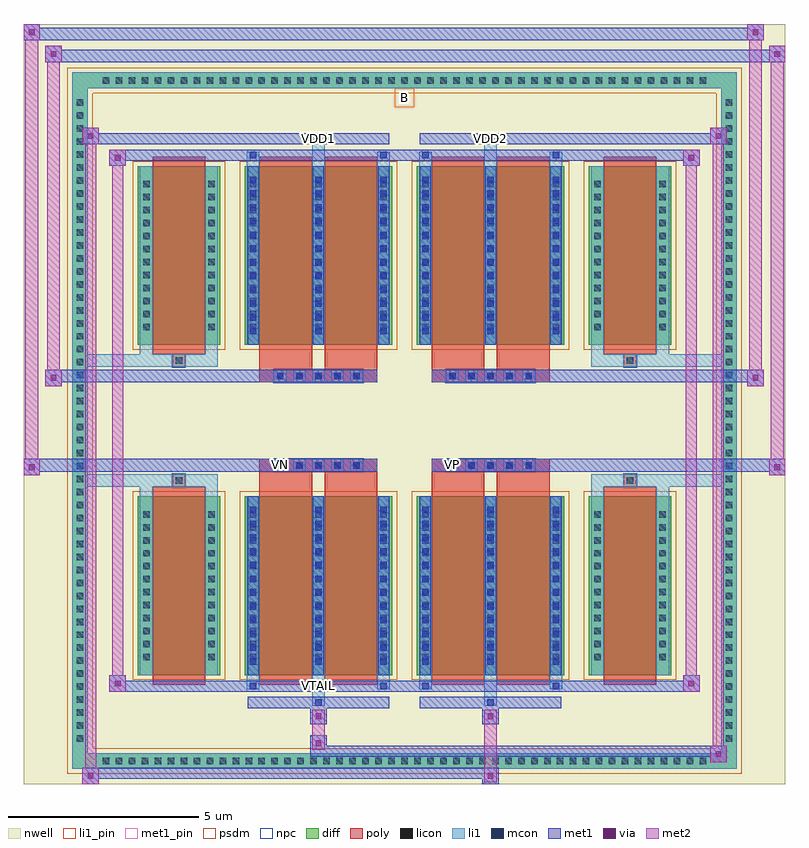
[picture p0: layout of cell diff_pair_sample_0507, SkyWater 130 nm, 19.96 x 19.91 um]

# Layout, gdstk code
import gdstk
lib = gdstk.Library(unit=1e-6, precision=5e-09)
def R(c, l, rs):  # rectangles x0, y0, x1, y1
    for r in rs: c.add(gdstk.rectangle(r[:2], r[2:], *l))
def A(c, l, x, y, w, h, nx, ny, dx, dy):  # array of equal rectangles
    R(c, l, [(x+i*dx, y+j*dy, x+i*dx+w, y+j*dy+h) for i in range(nx) for j in range(ny)])
def P(c, l, *ps):  # polygons
    for p in ps: c.add(gdstk.Polygon(p, *l))
nwell = (64, 20)
diff = (65, 20)
poly = (66, 20)
licon = (66, 44)
li1_pin = (67, 16)
li1 = (67, 20)
mcon = (67, 44)
met1_pin = (68, 16)
met1 = (68, 20)
via = (68, 44)
met2 = (69, 20)
psdm = (94, 20)
npc = (95, 20)

diff_pair_sample_0507 = lib.new_cell('diff_pair_sample_0507')
R(diff_pair_sample_0507, nwell, [(-9.98,-9.52,9.98,10.39), (-7.3,-7.71,-0.01,-0.805), (0.01,-7.71,7.3,-0.805), (-7.3,0.805,-0.01,7.71), (0.01,0.805,7.3,7.71)])
A(diff_pair_sample_0507, diff, -8.025, -9.12, 0.41, 0.41, 47, 2, 0.34, 17.83)
A(diff_pair_sample_0507, diff, -8.71, -8.535, 0.41, 0.41, 1, 50, 0, 0.34)
A(diff_pair_sample_0507, diff, 8.3, -8.535, 0.41, 0.41, 1, 50, 0, 0.34)
R(diff_pair_sample_0507, diff, [(-8.025,-9.12,8.025,-8.71), (-8.71,-8.535,-8.3,8.535), (8.3,-8.535,8.71,8.535), (-6.99,-6.665,-4.83,-1.985), (-4.19,-6.665,-0.32,-1.985), (0.32,-6.665,4.19,-1.985), (4.83,-6.665,6.99,-1.985), (-6.99,1.985,-4.83,6.665), (-4.19,1.985,-0.32,6.665), (0.32,1.985,4.19,6.665), (4.83,1.985,6.99,6.665), (-8.025,8.71,8.025,9.12)])
P(diff_pair_sample_0507, diff, [(8.71,9.12),(-8.71,9.12),(-8.71,-8.71),(-8.3,-8.71),(-8.3,8.71),(8.3,8.71),(8.3,-8.71),(-8.3,-8.71),(-8.71,-8.71),(-8.71,-9.12),(8.71,-9.12)])
A(diff_pair_sample_0507, poly, -3.42, -1.335, 0.33, 0.33, 5, 2, 0.5, 2.34)
A(diff_pair_sample_0507, poly, 1.09, -1.335, 0.33, 0.33, 5, 2, 0.5, 2.34)
R(diff_pair_sample_0507, poly, [(-6.6,-6.915,-5.22,-1.735), (-3.8,-6.915,-2.42,-1.735), (-2.09,-6.915,-0.71,-1.735), (0.71,-6.915,2.09,-1.735), (2.42,-6.915,3.8,-1.735), (5.22,-6.915,6.6,-1.735), (-6.075,-1.735,-5.745,-1.405), (-6.075,-1.735,-5.745,-1.405), (-3.8,-1.735,-2.42,-1.335), (-2.09,-1.735,-0.71,-1.335), (0.71,-1.735,2.09,-1.335), (2.42,-1.735,3.8,-1.335), (5.745,-1.735,6.075,-1.405), (5.745,-1.735,6.075,-1.405), (-3.8,-1.335,-0.71,-1.005), (0.71,-1.335,3.8,-1.005), (-3.8,1.005,-0.71,1.335), (0.71,1.005,3.8,1.335), (-3.8,1.335,-2.42,1.735), (-2.09,1.335,-0.71,1.735), (0.71,1.335,2.09,1.735), (2.42,1.335,3.8,1.735), (-6.075,1.405,-5.745,1.735), (-6.075,1.405,-5.745,1.735), (5.745,1.405,6.075,1.735), (5.745,1.405,6.075,1.735), (-6.6,1.735,-5.22,6.915), (-3.8,1.735,-2.42,6.915), (-2.09,1.735,-0.71,6.915), (0.71,1.735,2.09,6.915), (2.42,1.735,3.8,6.915), (5.22,1.735,6.6,6.915)])
A(diff_pair_sample_0507, licon, -7.905, -9, 0.17, 0.17, 47, 2, 0.34, 17.83)
A(diff_pair_sample_0507, licon, -8.59, -8.415, 0.17, 0.17, 1, 50, 0, 0.34)
A(diff_pair_sample_0507, licon, 8.42, -8.415, 0.17, 0.17, 1, 50, 0, 0.34)
A(diff_pair_sample_0507, licon, -6.85, -6.28, 0.17, 0.17, 1, 12, 0, 0.34)
A(diff_pair_sample_0507, licon, -5.14, -6.28, 0.17, 0.17, 1, 12, 0, 0.34)
A(diff_pair_sample_0507, licon, -4.05, -6.28, 0.17, 0.17, 3, 12, 1.71, 0.34)
A(diff_pair_sample_0507, licon, 0.46, -6.28, 0.17, 0.17, 3, 12, 1.71, 0.34)
A(diff_pair_sample_0507, licon, 4.97, -6.28, 0.17, 0.17, 1, 12, 0, 0.34)
A(diff_pair_sample_0507, licon, 6.68, -6.28, 0.17, 0.17, 1, 12, 0, 0.34)
A(diff_pair_sample_0507, licon, -3.34, -1.255, 0.17, 0.17, 5, 2, 0.5, 2.34)
A(diff_pair_sample_0507, licon, 1.17, -1.255, 0.17, 0.17, 5, 2, 0.5, 2.34)
A(diff_pair_sample_0507, licon, -6.85, 2.37, 0.17, 0.17, 1, 12, 0, 0.34)
A(diff_pair_sample_0507, licon, -5.14, 2.37, 0.17, 0.17, 1, 12, 0, 0.34)
A(diff_pair_sample_0507, licon, -4.05, 2.37, 0.17, 0.17, 3, 12, 1.71, 0.34)
A(diff_pair_sample_0507, licon, 0.46, 2.37, 0.17, 0.17, 3, 12, 1.71, 0.34)
A(diff_pair_sample_0507, licon, 4.97, 2.37, 0.17, 0.17, 1, 12, 0, 0.34)
A(diff_pair_sample_0507, licon, 6.68, 2.37, 0.17, 0.17, 1, 12, 0, 0.34)
R(diff_pair_sample_0507, licon, [(-5.995,-1.655,-5.825,-1.485), (5.825,-1.655,5.995,-1.485), (-5.995,1.485,-5.825,1.655), (5.825,1.485,5.995,1.655)])
R(diff_pair_sample_0507, li1_pin, [(-0.25,8.21,0.25,8.71)])
A(diff_pair_sample_0507, li1, -7.985, -9.08, 0.33, 0.33, 47, 2, 0.34, 17.83)
A(diff_pair_sample_0507, li1, -8.67, -8.495, 0.33, 0.33, 1, 50, 0, 0.34)
A(diff_pair_sample_0507, li1, 8.34, -8.495, 0.33, 0.33, 1, 50, 0, 0.34)
A(diff_pair_sample_0507, li1, -4.13, -6.665, 0.33, 4.68, 3, 2, 1.71, 8.65)
A(diff_pair_sample_0507, li1, 0.38, -6.665, 0.33, 4.68, 3, 2, 1.71, 8.65)
A(diff_pair_sample_0507, li1, -4.05, -6.39, 0.17, 0.17, 3, 12, 1.71, 0.36)
A(diff_pair_sample_0507, li1, -4.05, -6.39, 0.17, 4.13, 3, 2, 1.71, 8.65)
A(diff_pair_sample_0507, li1, 0.46, -6.39, 0.17, 0.17, 3, 12, 1.71, 0.36)
A(diff_pair_sample_0507, li1, 0.46, -6.39, 0.17, 4.13, 3, 2, 1.71, 8.65)
A(diff_pair_sample_0507, li1, -6.93, -6.36, 0.33, 0.33, 1, 12, 0, 0.34)
A(diff_pair_sample_0507, li1, -5.22, -6.36, 0.33, 0.33, 1, 12, 0, 0.34)
A(diff_pair_sample_0507, li1, -4.13, -6.36, 0.33, 0.33, 3, 12, 1.71, 0.34)
A(diff_pair_sample_0507, li1, 0.38, -6.36, 0.33, 0.33, 3, 12, 1.71, 0.34)
A(diff_pair_sample_0507, li1, 4.89, -6.36, 0.33, 0.33, 1, 12, 0, 0.34)
A(diff_pair_sample_0507, li1, 6.6, -6.36, 0.33, 0.33, 1, 12, 0, 0.34)
A(diff_pair_sample_0507, li1, -3.42, -1.335, 0.33, 0.33, 5, 2, 0.5, 2.34)
A(diff_pair_sample_0507, li1, 1.09, -1.335, 0.33, 0.33, 5, 2, 0.5, 2.34)
A(diff_pair_sample_0507, li1, -4.05, 2.26, 0.17, 0.17, 3, 12, 1.71, 0.36)
A(diff_pair_sample_0507, li1, 0.46, 2.26, 0.17, 0.17, 3, 12, 1.71, 0.36)
A(diff_pair_sample_0507, li1, -6.93, 2.29, 0.33, 0.33, 1, 12, 0, 0.34)
A(diff_pair_sample_0507, li1, -5.22, 2.29, 0.33, 0.33, 1, 12, 0, 0.34)
A(diff_pair_sample_0507, li1, -4.13, 2.29, 0.33, 0.33, 3, 12, 1.71, 0.34)
A(diff_pair_sample_0507, li1, 0.38, 2.29, 0.33, 0.33, 3, 12, 1.71, 0.34)
A(diff_pair_sample_0507, li1, 4.89, 2.29, 0.33, 0.33, 1, 12, 0, 0.34)
A(diff_pair_sample_0507, li1, 6.6, 2.29, 0.33, 0.33, 1, 12, 0, 0.34)
R(diff_pair_sample_0507, li1, [(-8.71,-9.12,-8.3,-8.71), (-8.71,-9.12,-8.3,-8.71), (-8.3,-9.12,8.3,-8.71), (8.3,-9.12,8.71,-8.71), (8.3,-9.12,8.71,-8.71), (-8.71,-8.71,-8.3,8.71), (8.3,-8.71,8.71,8.71), (-2.42,-7.47,-2.09,-6.665), (-2.34,-7.47,-2.17,-7.3), (2.09,-7.47,2.42,-6.665), (2.17,-7.47,2.34,-7.3), (-4.13,-7.04,-3.8,-6.665), (-4.05,-7.04,-3.88,-6.87), (-0.71,-7.04,-0.38,-6.665), (-0.63,-7.04,-0.46,-6.87), (0.38,-7.04,0.71,-6.665), (0.46,-7.04,0.63,-6.87), (3.8,-7.04,4.13,-6.665), (3.88,-7.04,4.05,-6.87), (-6.93,-6.665,-6.6,-1.985), (-5.22,-6.665,-4.89,-1.985), (4.89,-6.665,5.22,-1.985), (6.6,-6.665,6.93,-1.985), (-6.93,-1.985,-6.6,-1.405), (-5.22,-1.985,-4.89,-1.405), (4.89,-1.985,5.22,-1.405), (6.6,-1.985,6.93,-1.405), (-8.71,-1.735,-6.075,-1.405), (-6.93,-1.735,-6.075,-1.405), (-6.075,-1.735,-5.745,-1.405), (-5.745,-1.735,-4.89,-1.405), (4.89,-1.735,5.745,-1.405), (5.745,-1.735,6.075,-1.405), (5.745,-1.735,8.71,-1.405), (6.075,-1.735,6.93,-1.405), (-8.71,1.405,-6.075,1.735), (-6.93,1.405,-6.075,1.735), (-6.93,1.405,-6.6,1.985), (-6.075,1.405,-5.745,1.735), (-5.745,1.405,-4.89,1.735), (-5.22,1.405,-4.89,1.985), (4.89,1.405,5.745,1.735), (4.89,1.405,5.22,1.985), (5.745,1.405,6.075,1.735), (5.745,1.405,8.71,1.735), (6.075,1.405,6.93,1.735), (6.6,1.405,6.93,1.985), (-6.93,1.985,-6.6,6.665), (-5.22,1.985,-4.89,6.665), (4.89,1.985,5.22,6.665), (6.6,1.985,6.93,6.665), (-4.13,6.665,-3.8,7.04), (-2.42,6.665,-2.09,7.47), (-0.71,6.665,-0.38,7.04), (0.38,6.665,0.71,7.04), (2.09,6.665,2.42,7.47), (3.8,6.665,4.13,7.04), (-4.05,6.87,-3.88,7.04), (-0.63,6.87,-0.46,7.04), (0.46,6.87,0.63,7.04), (3.88,6.87,4.05,7.04), (-2.34,7.3,-2.17,7.47), (2.17,7.3,2.34,7.47), (-8.71,8.71,-8.3,9.12), (-8.71,8.71,-8.3,9.12), (-8.3,8.71,8.3,9.12), (8.3,8.71,8.71,9.12), (8.3,8.71,8.71,9.12)])
A(diff_pair_sample_0507, mcon, -4.05, -6.39, 0.17, 0.17, 3, 12, 1.71, 0.36)
A(diff_pair_sample_0507, mcon, 0.46, -6.39, 0.17, 0.17, 3, 12, 1.71, 0.36)
A(diff_pair_sample_0507, mcon, -3.34, -1.255, 0.17, 0.17, 5, 2, 0.5, 2.34)
A(diff_pair_sample_0507, mcon, 1.17, -1.255, 0.17, 0.17, 5, 2, 0.5, 2.34)
A(diff_pair_sample_0507, mcon, -4.05, 2.26, 0.17, 0.17, 3, 12, 1.71, 0.36)
A(diff_pair_sample_0507, mcon, 0.46, 2.26, 0.17, 0.17, 3, 12, 1.71, 0.36)
R(diff_pair_sample_0507, mcon, [(-2.34,-7.47,-2.17,-7.3), (2.17,-7.47,2.34,-7.3), (-4.05,-7.04,-3.88,-6.87), (-0.63,-7.04,-0.46,-6.87), (0.46,-7.04,0.63,-6.87), (3.88,-7.04,4.05,-6.87), (-4.05,6.87,-3.88,7.04), (-0.63,6.87,-0.46,7.04), (0.46,6.87,0.63,7.04), (3.88,6.87,4.05,7.04), (-2.34,7.3,-2.17,7.47), (2.17,7.3,2.34,7.47)])
R(diff_pair_sample_0507, met1_pin, [(-2.39,-7.08,-2.12,-6.81), (-3.39,-1.295,-3.12,-1.025), (1.12,-1.295,1.39,-1.025), (-2.39,7.26,-2.12,7.53), (2.12,7.26,2.39,7.53)])
A(diff_pair_sample_0507, met1, -4.11, -6.665, 0.29, 4.68, 3, 2, 1.71, 8.65)
A(diff_pair_sample_0507, met1, 0.4, -6.665, 0.29, 4.68, 3, 2, 1.71, 8.65)
A(diff_pair_sample_0507, met1, -4.11, -6.45, 0.29, 0.29, 3, 12, 1.71, 0.36)
A(diff_pair_sample_0507, met1, 0.4, -6.45, 0.29, 0.29, 3, 12, 1.71, 0.36)
A(diff_pair_sample_0507, met1, -3.4, -1.315, 0.29, 0.29, 5, 2, 0.5, 2.34)
A(diff_pair_sample_0507, met1, 1.11, -1.315, 0.29, 0.29, 5, 2, 0.5, 2.34)
A(diff_pair_sample_0507, met1, -4.11, 2.2, 0.29, 0.29, 3, 12, 1.71, 0.36)
A(diff_pair_sample_0507, met1, 0.4, 2.2, 0.29, 0.29, 3, 12, 1.71, 0.36)
R(diff_pair_sample_0507, met1, [(-8.44,-9.52,-8.01,-9.09), (2.04,-9.52,2.47,-9.09), (-8.44,-9.38,2.47,-9.09), (8.01,-8.95,8.44,-8.52), (-2.47,-8.81,8.44,-8.52), (-2.47,-8.67,-2.04,-8.24), (-2.47,-7.96,-2.04,-7.53), (2.04,-7.96,2.47,-7.53), (-4.11,-7.53,-0.4,-7.24), (-2.4,-7.53,-2.11,-7.24), (0.4,-7.53,4.11,-7.24), (2.11,-7.53,2.4,-7.24), (-7.73,-7.1,-7.3,-6.67), (-7.73,-7.1,-4.11,-6.81), (-4.11,-7.1,-3.82,-6.81), (-4.11,-7.1,-0.4,-6.81), (-0.69,-7.1,-0.4,-6.81), (-0.4,-7.1,0.4,-6.81), (0.4,-7.1,0.69,-6.81), (0.4,-7.1,4.11,-6.81), (3.82,-7.1,4.11,-6.81), (4.11,-7.1,7.73,-6.81), (7.3,-7.1,7.73,-6.67), (-9.98,-1.435,-9.55,-1.005), (9.55,-1.435,9.98,-1.005), (-9.98,-1.335,-0.71,-1.005), (-3.8,-1.335,-0.71,-1.005), (0.71,-1.335,3.8,-1.005), (0.71,-1.335,9.98,-1.005), (-9.41,0.905,-8.98,1.335), (8.98,0.905,9.41,1.335), (-9.41,1.005,-3.8,1.335), (-3.8,1.005,-0.71,1.335), (0.71,1.005,3.8,1.335), (3.8,1.005,9.41,1.335), (-7.73,6.67,-7.3,7.1), (7.3,6.67,7.73,7.1), (-7.73,6.81,-4.11,7.1), (-4.11,6.81,-3.82,7.1), (-4.11,6.81,-0.4,7.1), (-0.69,6.81,-0.4,7.1), (-0.4,6.81,0.4,7.1), (0.4,6.81,0.69,7.1), (0.4,6.81,4.11,7.1), (3.82,6.81,4.11,7.1), (4.11,6.81,7.73,7.1), (-8.44,7.24,-8.01,7.67), (-8.44,7.24,-4.11,7.53), (-4.11,7.24,-0.4,7.53), (-2.4,7.24,-2.11,7.53), (0.4,7.24,4.11,7.53), (2.11,7.24,2.4,7.53), (4.11,7.24,8.44,7.53), (8.01,7.24,8.44,7.67), (-9.41,9.39,-8.98,9.82), (-9.41,9.39,-7.3,9.72), (-7.3,9.39,7.3,9.72), (7.3,9.39,9.98,9.72), (9.55,9.39,9.98,9.82), (-9.98,9.96,-9.55,10.39), (-9.98,9.96,-7.3,10.29), (-7.3,9.96,7.3,10.29), (7.3,9.96,9.41,10.29), (8.98,9.96,9.41,10.39)])
R(diff_pair_sample_0507, via, [(-8.3,-9.38,-8.15,-9.23), (2.18,-9.38,2.33,-9.23), (8.15,-8.81,8.3,-8.66), (-2.33,-8.53,-2.18,-8.38), (-2.33,-7.82,-2.18,-7.67), (2.18,-7.82,2.33,-7.67), (-7.59,-6.96,-7.44,-6.81), (7.44,-6.96,7.59,-6.81), (-9.84,-1.295,-9.69,-1.145), (9.69,-1.295,9.84,-1.145), (-9.27,1.045,-9.12,1.195), (9.12,1.045,9.27,1.195), (-7.59,6.81,-7.44,6.96), (7.44,6.81,7.59,6.96), (-8.3,7.38,-8.15,7.53), (8.15,7.38,8.3,7.53), (-9.27,9.53,-9.12,9.68), (9.69,9.53,9.84,9.68), (-9.84,10.1,-9.69,10.25), (9.12,10.1,9.27,10.25)])
R(diff_pair_sample_0507, met2, [(-8.44,-9.52,-8.01,-9.09), (-8.37,-9.52,-8.08,7.67), (-8.08,-9.52,-8.01,-9.09), (-8.39,-9.47,-8.06,-9.14), (2.09,-9.47,2.42,-9.14), (2.09,-9.14,2.42,-7.91), (8.01,-8.95,8.44,-8.52), (8.08,-8.95,8.37,7.67), (8.37,-8.95,8.44,-8.52), (8.06,-8.9,8.39,-8.57), (-2.42,-8.62,-2.09,-8.29), (-2.42,-8.29,-2.09,-7.91), (-2.42,-7.91,-2.09,-7.58), (2.09,-7.91,2.42,-7.58), (-7.73,-7.1,-7.3,-6.67), (-7.66,-7.1,-7.37,7.1), (-7.37,-7.1,-7.3,-6.67), (7.3,-7.1,7.73,-6.67), (7.37,-7.1,7.66,7.1), (7.66,-7.1,7.73,-6.67), (-7.68,-7.05,-7.35,-6.72), (7.35,-7.05,7.68,-6.72), (-9.98,-1.435,-9.55,-1.005), (-9.93,-1.435,-9.6,10.39), (-9.6,-1.435,-9.55,-1.005), (9.55,-1.435,9.98,-1.005), (9.6,-1.435,9.93,9.82), (9.93,-1.435,9.98,-1.005), (-9.93,-1.385,-9.6,-1.055), (9.6,-1.385,9.93,-1.055), (-9.41,0.905,-8.98,1.335), (-9.36,0.905,-9.03,9.82), (-9.03,0.905,-8.98,1.335), (8.98,0.905,9.41,1.335), (9.03,0.905,9.36,10.39), (9.36,0.905,9.41,1.335), (-9.36,0.955,-9.03,1.285), (9.03,0.955,9.36,1.285), (-7.73,6.67,-7.3,7.1), (-7.37,6.67,-7.3,7.1), (7.3,6.67,7.73,7.1), (7.66,6.67,7.73,7.1), (-7.68,6.72,-7.35,7.05), (7.35,6.72,7.68,7.05), (-8.44,7.24,-8.01,7.67), (-8.08,7.24,-8.01,7.67), (8.01,7.24,8.44,7.67), (8.37,7.24,8.44,7.67), (-8.39,7.29,-8.06,7.62), (8.06,7.29,8.39,7.62), (-9.41,9.39,-8.98,9.82), (-9.03,9.39,-8.98,9.82), (9.55,9.39,9.98,9.82), (9.93,9.39,9.98,9.82), (-9.36,9.44,-9.03,9.77), (9.6,9.44,9.93,9.77), (-9.98,9.96,-9.55,10.39), (-9.6,9.96,-9.55,10.39), (8.98,9.96,9.41,10.39), (9.36,9.96,9.41,10.39), (-9.93,10.01,-9.6,10.34), (9.03,10.01,9.36,10.34)])
R(diff_pair_sample_0507, psdm, [(-7.12,-6.795,-4.7,-1.855), (-4.32,-6.795,-0.19,-1.855), (0.19,-6.795,4.32,-1.855), (4.7,-6.795,7.12,-1.855), (-7.12,1.855,-4.7,6.795), (-4.32,1.855,-0.19,6.795), (0.19,1.855,4.32,6.795), (4.7,1.855,7.12,6.795)])
P(diff_pair_sample_0507, psdm, [(8.84,9.25),(-8.84,9.25),(-8.84,-8.58),(-8.17,-8.58),(-8.17,8.58),(8.17,8.58),(8.17,-8.58),(-8.17,-8.58),(-8.84,-8.58),(-8.84,-9.25),(8.84,-9.25)])
A(diff_pair_sample_0507, npc, -3.44, -1.355, 0.37, 0.37, 5, 2, 0.5, 2.34)
A(diff_pair_sample_0507, npc, 1.07, -1.355, 0.37, 0.37, 5, 2, 0.5, 2.34)
R(diff_pair_sample_0507, npc, [(-6.095,-1.755,-5.725,-1.385), (5.725,-1.755,6.095,-1.385), (-3.44,-1.355,-2.57,-0.985), (-3.44,-1.355,-2.57,-0.985), (-2.94,-1.355,-2.07,-0.985), (-2.94,-1.355,-2.07,-0.985), (-2.44,-1.355,-1.57,-0.985), (-2.44,-1.355,-1.57,-0.985), (-1.94,-1.355,-1.07,-0.985), (-1.94,-1.355,-1.07,-0.985), (1.07,-1.355,1.94,-0.985), (1.07,-1.355,1.94,-0.985), (1.57,-1.355,2.44,-0.985), (1.57,-1.355,2.44,-0.985), (2.07,-1.355,2.94,-0.985), (2.07,-1.355,2.94,-0.985), (2.57,-1.355,3.44,-0.985), (2.57,-1.355,3.44,-0.985), (-3.44,0.985,-2.57,1.355), (-3.44,0.985,-2.57,1.355), (-2.94,0.985,-2.07,1.355), (-2.94,0.985,-2.07,1.355), (-2.44,0.985,-1.57,1.355), (-2.44,0.985,-1.57,1.355), (-1.94,0.985,-1.07,1.355), (-1.94,0.985,-1.07,1.355), (1.07,0.985,1.94,1.355), (1.07,0.985,1.94,1.355), (1.57,0.985,2.44,1.355), (1.57,0.985,2.44,1.355), (2.07,0.985,2.94,1.355), (2.07,0.985,2.94,1.355), (2.57,0.985,3.44,1.355), (2.57,0.985,3.44,1.355), (-6.095,1.385,-5.725,1.755), (5.725,1.385,6.095,1.755)])
diff_pair_sample_0507.add(gdstk.Label('VTAIL', (-2.255,-6.945), layer=68, texttype=5))
diff_pair_sample_0507.add(gdstk.Label('VN', (-3.255,-1.16), layer=68, texttype=5))
diff_pair_sample_0507.add(gdstk.Label('VP', (1.255,-1.16), layer=68, texttype=5))
diff_pair_sample_0507.add(gdstk.Label('B', (0,8.46), layer=67, texttype=5))
diff_pair_sample_0507.add(gdstk.Label('VDD2', (2.255,7.395), layer=68, texttype=5))
diff_pair_sample_0507.add(gdstk.Label('VDD1', (-2.255,7.395), layer=68, texttype=5))

lib.write_gds('diff_pair_sample_0507.gds')
